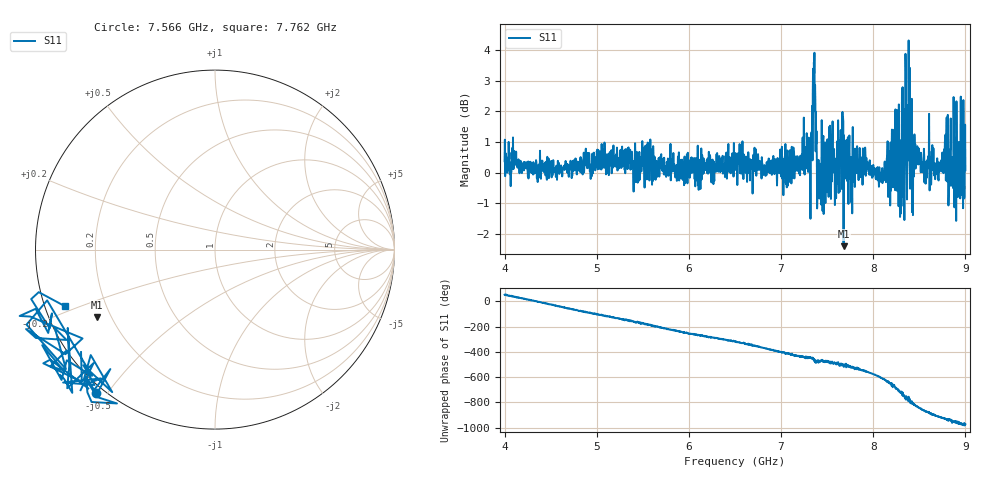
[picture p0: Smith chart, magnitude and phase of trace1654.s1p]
! Created with skrf 1.8.0 (http://scikit-rf.org).
# Hz S RI R 50.0
!freq ReS11 ImS11
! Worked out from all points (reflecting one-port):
!   1601 points, 4 GHz to 9 GHz, reference 50 ohm
!   lowest |S11| = -2.4 dB at 7.678 GHz (marker M1), VSWR 7.27, Z = 7.36 - j13 ohm
!   phase of S11 starts at 52 deg and turns -1027 deg over the sweep
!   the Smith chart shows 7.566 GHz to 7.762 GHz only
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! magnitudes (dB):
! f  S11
! 4 GHz  0.4
! 4.625 GHz  -0.1
! 5.25 GHz  0.3
! 5.875 GHz  0.2
! 6.5 GHz  0.5
! 7.125 GHz  0.4
! 7.309 GHz  0.1
! 7.353 GHz  2.2
! 7.369 GHz  2.9
! 7.412 GHz  0.1
! 7.544 GHz  0.0
! 7.609 GHz  1.0
! 7.65 GHz  0.4
! 7.678 GHz  -2.4
! 7.75 GHz  -0.2
! 8.094 GHz  -0.2
! 8.253 GHz  0.7
! 8.312 GHz  2.7
! 8.334 GHz  -0.3
! 8.347 GHz  1.5
! 8.375 GHz  2.2
! 8.425 GHz  -0.2
! 8.556 GHz  -0.3
! 8.697 GHz  0.1
! 8.788 GHz  -0.3
! 8.841 GHz  1.8
! 8.959 GHz  1.5
! 9 GHz  0.1
